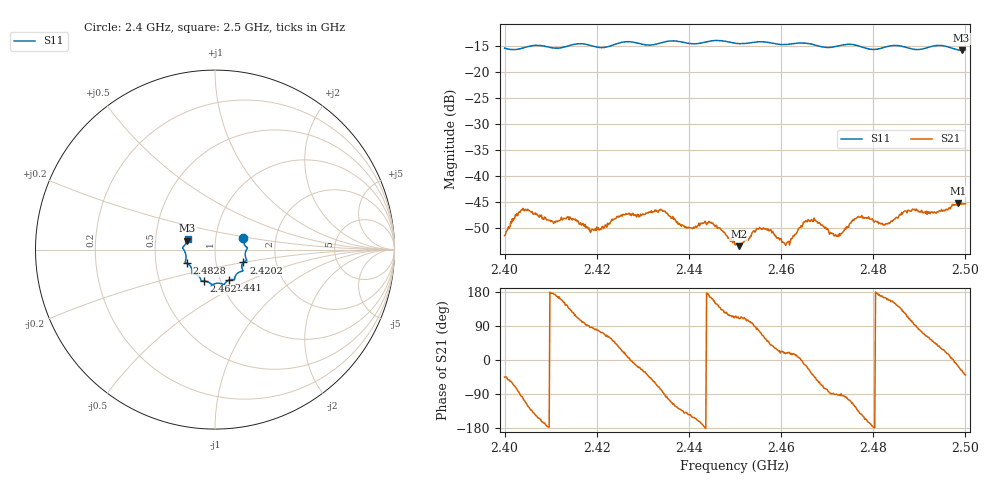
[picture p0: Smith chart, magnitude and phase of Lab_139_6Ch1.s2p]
# Hz S RI R 50
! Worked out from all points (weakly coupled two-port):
!   601 points, 2.4 GHz to 2.5 GHz, reference 50 ohm
!   highest |S21| = -45.13 dB at 2.4983 GHz (marker M1); lowest = -53.4 dB at 2.4508 GHz (marker M2)
!   lowest |S11| = -15.8 dB at 2.4992 GHz (marker M3), VSWR 1.39, Z = 36.4 + j3.69 ohm
!   |S11| at or under -10 dB: start of sweep to end of sweep
!   S12 and S22 are empty: the file has one direction only
!   S11 on the Smith chart (normalised r, x): 2.4 GHz: 1.36, +0.17; 2.4202 GHz: 1.36, -0.20; 2.441 GHz: 1.10, -0.39; 2.462 GHz: 0.84, -0.30; 2.4828 GHz: 0.72, -0.11; 2.5 GHz: 0.73, +0.09
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2.4e9  0.1581 0.0622  0.0019 -0.00191  0 0  0 0
2.404167e9  0.1705 0.0185  -0.00125 -0.00453  0 0  0 0
2.416667e9  0.1774 -0.0608  -0.000779 0.00331  0 0  0 0
2.420167e9  0.1582 -0.0714  0.000669 0.00303  0 0  0 0
2.425833e9  0.1558 -0.1171  0.00408 0.00139  0 0  0 0
2.433333e9  0.1116 -0.151  0.00148 -0.00428  0 0  0 0
2.441e9  0.0783 -0.1698  -0.00286 -0.00155  0 0  0 0
2.444833e9  0.0526 -0.1924  -0.00347 0.000977  0 0  0 0
2.45e9  0.0281 -0.1877  -0.00091 0.002  0 0  0 0
2.450833e9  0.0196 -0.1869  -0.000721 0.00201  0 0  0 0
2.455167e9  -0.0131 -0.1952  0.000683 0.00306  0 0  0 0
2.462e9  -0.0607 -0.1757  0.00226 0.000632  0 0  0 0
2.466667e9  -0.0788 -0.1679  0.00306 -0.00233  0 0  0 0
2.472e9  -0.1137 -0.1356  -1.01e-05 -0.00267  0 0  0 0
2.477e9  -0.1271 -0.1243  -0.00306 -0.00265  0 0  0 0
2.482833e9  -0.1576 -0.0765  -0.00337 0.00105  0 0  0 0
2.483333e9  -0.1609 -0.0751  -0.0033 0.00134  0 0  0 0
2.487167e9  -0.1628 -0.0579  -0.00222 0.00407  0 0  0 0
2.4935e9  -0.1796 0.00717  0.00317 0.00313  0 0  0 0
2.498333e9  -0.1593 0.0385  0.00535 -0.00143  0 0  0 0
2.499167e9  -0.1548 0.0493  0.00491 -0.00246  0 0  0 0
2.5e9  -0.152 0.0614  0.0042 -0.00348  0 0  0 0
